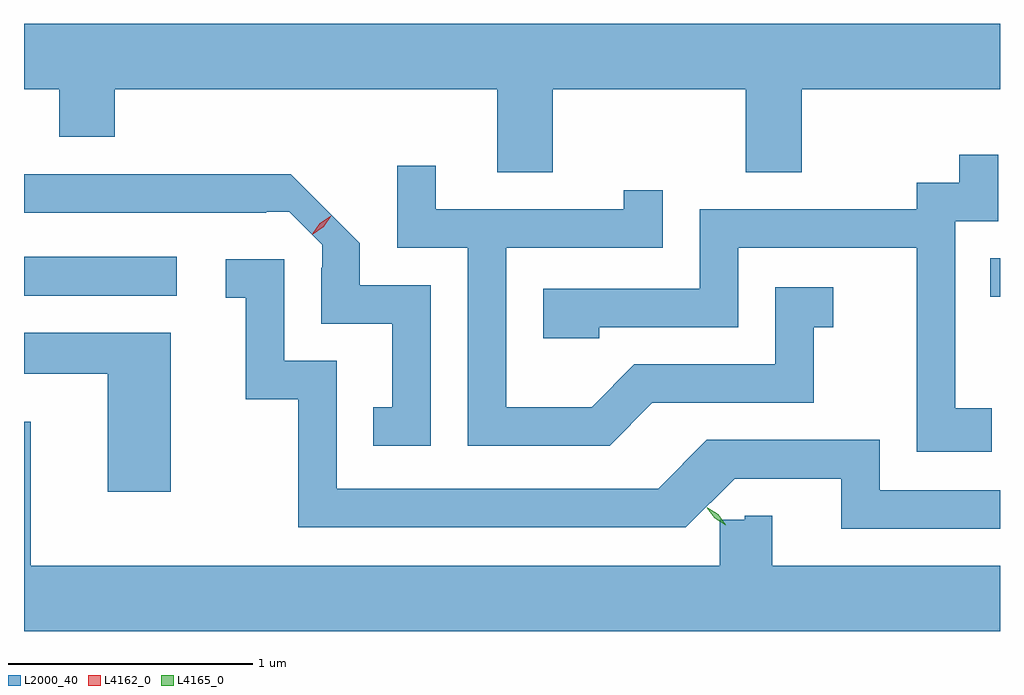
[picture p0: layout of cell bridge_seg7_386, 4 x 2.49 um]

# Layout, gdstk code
import gdstk
lib = gdstk.Library(unit=1e-6, precision=1e-09)
def R(c, l, rs):  # rectangles x0, y0, x1, y1
    for r in rs: c.add(gdstk.rectangle(r[:2], r[2:], *l))
def P(c, l, *ps):  # polygons
    for p in ps: c.add(gdstk.Polygon(p, *l))
L2000_40 = (2000, 40)
L4162_0 = (4162, 0)
L4165_0 = (4165, 0)

bridge_seg7_386 = lib.new_cell('bridge_seg7_386')
R(bridge_seg7_386, L2000_40, [(1104.663,1748.986,1104.702,1749.144), (1100.702,1748.991,1101.328,1749.149)])
P(bridge_seg7_386, L2000_40, [(1102.869,1749.836),(1103.661,1749.836),(1103.661,1749.496),(1103.889,1749.496),(1103.889,1749.836),(1104.702,1749.836),(1104.702,1750.104),(1100.702,1750.104),(1100.702,1749.836),(1100.846,1749.836),(1100.846,1749.641),(1101.074,1749.641),(1101.074,1749.836),(1102.641,1749.836),(1102.641,1749.496),(1102.869,1749.496)],
  [(1104.669,1748.529),(1104.519,1748.529),(1104.519,1749.296),(1104.694,1749.296),(1104.694,1749.568),(1104.536,1749.568),(1104.536,1749.454),(1104.361,1749.454),(1104.361,1749.344),(1103.471,1749.344),(1103.471,1749.019),(1102.831,1749.019),(1102.831,1748.816),(1103.059,1748.816),(1103.059,1748.861),(1103.629,1748.861),(1103.629,1749.186),(1104.361,1749.186),(1104.361,1748.351),(1104.669,1748.351)],
  [(1103.277,1748.551),(1103.939,1748.551),(1103.939,1748.861),(1104.018,1748.861),(1104.018,1749.024),(1103.781,1749.024),(1103.781,1748.709),(1103.204,1748.709),(1103.029,1748.534),(1102.679,1748.534),(1102.679,1749.186),(1103.319,1749.186),(1103.319,1749.423),(1103.161,1749.423),(1103.161,1749.344),(1102.389,1749.344),(1102.389,1749.523),(1102.231,1749.523),(1102.231,1749.186),(1102.521,1749.186),(1102.521,1748.376),(1103.102,1748.376)],
  [(1102.369,1749.034),(1102.079,1749.034),(1102.079,1749.205),(1101.795,1749.489),(1100.702,1749.489),(1100.702,1749.331),(1101.695,1749.331),(1101.695,1749.335),(1101.79,1749.335),(1101.925,1749.2),(1101.925,1749.105),(1101.921,1749.105),(1101.921,1748.876),(1102.211,1748.876),(1102.211,1748.534),(1102.133,1748.534),(1102.133,1748.376),(1102.369,1748.376)],
  [(1104.702,1748.194),(1104.209,1748.194),(1104.209,1748.399),(1103.501,1748.399),(1103.301,1748.199),(1101.984,1748.199),(1101.984,1748.724),(1101.769,1748.724),(1101.769,1749.139),(1101.528,1749.139),(1101.528,1748.981),(1101.611,1748.981),(1101.611,1748.566),(1101.826,1748.566),(1101.826,1748.041),(1103.415,1748.041),(1103.615,1748.241),(1104.051,1748.241),(1104.051,1748.036),(1104.702,1748.036)],
  [(1101.304,1748.839),(1100.702,1748.839),(1100.702,1748.671),(1101.046,1748.671),(1101.046,1748.186),(1101.304,1748.186)],
  [(1104.702,1747.884),(1103.769,1747.884),(1103.769,1748.089),(1103.655,1748.089),(1103.655,1748.073),(1103.553,1748.073),(1103.553,1747.884),(1100.729,1747.884),(1100.729,1748.474),(1100.702,1748.474),(1100.702,1747.616),(1104.702,1747.616)])
P(bridge_seg7_386, L4162_0, [(1101.883,1749.241),(1101.883,1749.242),(1101.916,1749.287),(1101.962,1749.318),(1101.962,1749.318),(1101.962,1749.318),(1101.93,1749.272),(1101.884,1749.241)],
  [(1101.885,1749.245),(1101.885,1749.246),(1101.915,1749.288),(1101.957,1749.316),(1101.958,1749.316),(1101.958,1749.316),(1101.928,1749.274),(1101.886,1749.245)])
P(bridge_seg7_386, L4165_0, [(1103.578,1748.049),(1103.532,1748.078),(1103.5,1748.122),(1103.5,1748.122),(1103.5,1748.122),(1103.546,1748.093),(1103.578,1748.049),(1103.578,1748.049)],
  [(1103.576,1748.051),(1103.533,1748.08),(1103.503,1748.122),(1103.503,1748.122),(1103.504,1748.122),(1103.547,1748.094),(1103.577,1748.052),(1103.577,1748.051)])

lib.write_gds('bridge_seg7_386.gds')
